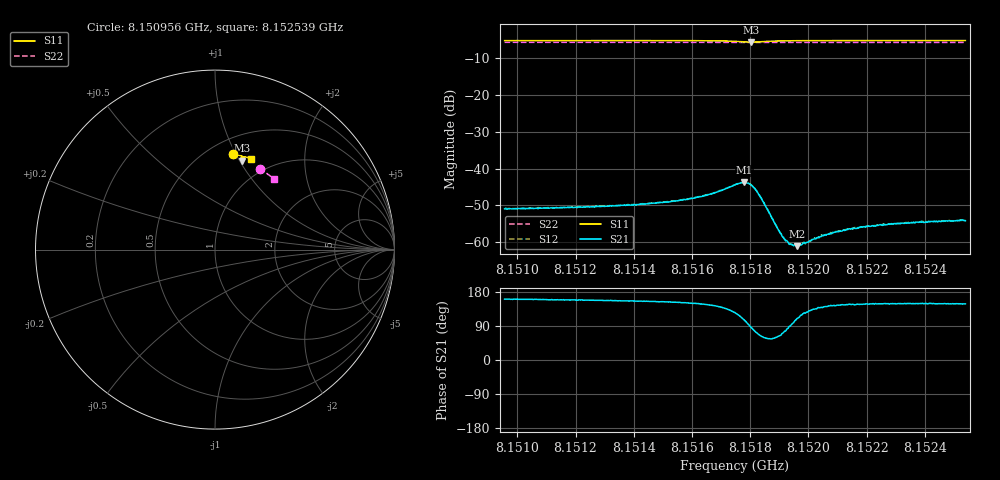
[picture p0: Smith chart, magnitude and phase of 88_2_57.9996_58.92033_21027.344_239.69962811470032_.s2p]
#  HZ  S  RI  R  50.00
! Rohde & Schwarz Vector Network Analyzer
! Rohde-Schwarz,ZNB20-2Port,1311601062101988,3.16
! Created: UTC 3/21/2024, 12:54:11 AM
! freq[Hz]  re:S11  im:S11  re:S21  im:S21  re:S12  im:S12  re:S22  im:S22
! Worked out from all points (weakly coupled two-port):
!   401 points, 8.150956 GHz to 8.152539 GHz, reference 50 ohm
!   highest |S21| = -43.75 dB at 8.151779 GHz (marker M1); lowest = -61.0 dB at 8.151961 GHz (marker M2)
!   lowest |S11| = -5.7 dB at 8.151803 GHz (marker M3), VSWR 3.14, Z = 37.8 + j51 ohm
!   |S11| at or under -10 dB: nowhere
!   |S22| runs from -5.8 to -5.8 dB; largest |S21 - S12| = 0.00015
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8.1509565e9  0.1006 0.5333  -0.00268 0.000938  -0.00268 0.000981  0.2488 0.4502
8.1512216e9  0.1197 0.5296  -0.0028 0.0011  -0.00278 0.00119  0.2634 0.4415
8.1514867e9  0.1397 0.5247  -0.00309 0.00154  -0.00311 0.00159  0.2779 0.432
8.15155e9  0.1449 0.523  -0.00324 0.0017  -0.00322 0.00178  0.2813 0.4298
8.151641e9  0.1532 0.5191  -0.00358 0.00231  -0.00359 0.00242  0.2861 0.4262
8.1517478e9  0.1623 0.5046  -0.00346 0.00493  -0.00339 0.00502  0.2915 0.4217
8.1517795e9  0.1578 0.4963  -0.00174 0.00625  -0.00168 0.00631  0.2929 0.4203
8.1518032e9  0.1488 0.4948  0.000367 0.00597  0.000478 0.00601  0.2938 0.4196
8.1518151e9  0.1449 0.4974  0.00122 0.00526  0.00132 0.00526  0.2943 0.4195
8.1518309e9  0.1422 0.5024  0.00177 0.00403  0.00183 0.00403  0.295 0.419
8.1518902e9  0.1479 0.5148  0.000826 0.00142  0.000881 0.00143  0.2984 0.4173
8.151914e9  0.1516 0.5164  0.000352 0.0011  0.000381 0.00112  0.2997 0.4163
8.1519259e9  0.1533 0.5167  0.000155 0.00105  0.000197 0.00102  0.3004 0.4159
8.1519377e9  0.1547 0.517  -3.64e-07 0.000942  -6.82e-06 0.000959  0.301 0.4154
8.1519615e9  0.1576 0.5172  -0.000303 0.000835  -0.000275 0.000865  0.3022 0.4144
8.1519971e9  0.1615 0.5172  -0.000595 0.000812  -0.000587 0.000801  0.3042 0.4132
8.1520129e9  0.1632 0.5171  -0.00074 0.000802  -0.000728 0.000824  0.3048 0.4126
8.1520525e9  0.1667 0.5166  -0.000949 0.00079  -0.000969 0.000793  0.3071 0.4109
8.1521316e9  0.1735 0.5152  -0.00124 0.000827  -0.00123 0.000865  0.311 0.4078
8.152278e9  0.1845 0.512  -0.00149 0.000947  -0.00149 0.000937  0.3184 0.4018
8.1523888e9  0.1924 0.5095  -0.00161 0.000968  -0.00165 0.00103  0.3239 0.3972
8.1525391e9  0.2026 0.5057  -0.00167 0.00104  -0.00169 0.00105  0.3312 0.391
